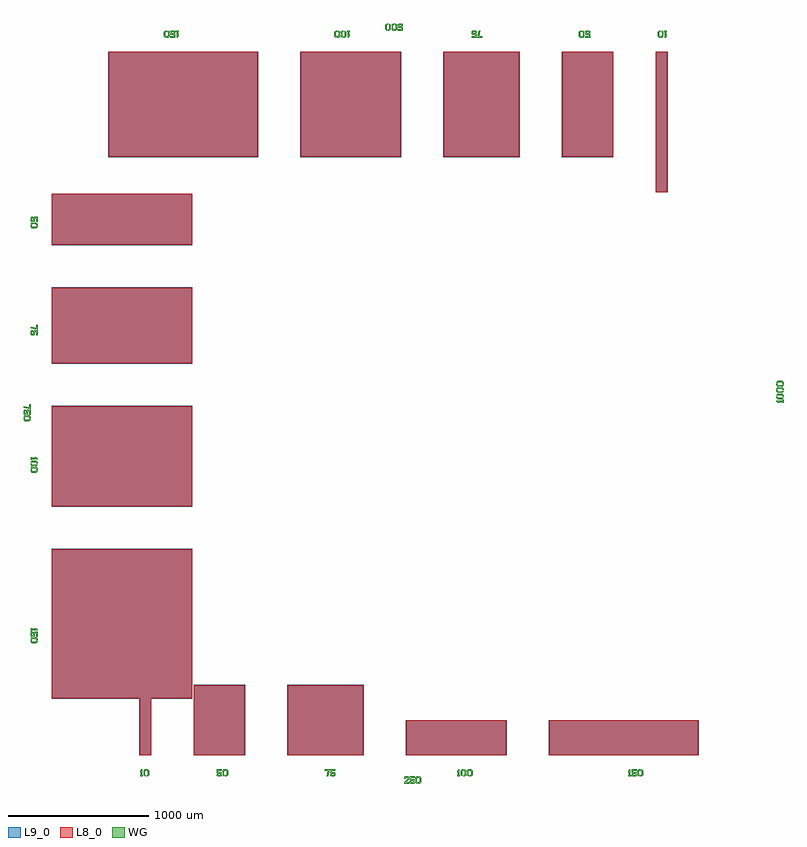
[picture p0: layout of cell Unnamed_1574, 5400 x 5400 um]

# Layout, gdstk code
from math import pi, radians
import gdstk
lib = gdstk.Library(unit=1e-6, precision=1e-09)
def R(c, l, rs):  # rectangles x0, y0, x1, y1
    for r in rs: c.add(gdstk.rectangle(r[:2], r[2:], *l))
def P(c, l, *ps):  # polygons
    for p in ps: c.add(gdstk.Polygon(p, *l))
WG = (1, 0)
L8_0 = (8, 0)
L9_0 = (9, 0)

unnamed_1573 = lib.new_cell('Unnamed_1573')

unnamed_1571 = lib.new_cell('Unnamed_1571')

unnamed_1570 = lib.new_cell('Unnamed_1570')

text_t1000_s50_p0_0_jlef = lib.new_cell('text_T1000_S50_P0_0_Jleft_L1_0')
P(text_t1000_s50_p0_0_jlef, WG, [(48.5,0),(51,10),(55,10),(60,15),(60,35),(55,40),(57.5,50),(60,50),(70,40),(70,10),(60,0)],
  [(93.5,0),(96,10),(100,10),(105,15),(105,35),(100,40),(102.5,50),(105,50),(115,40),(115,10),(105,0)],
  [(138.5,0),(141,10),(145,10),(150,15),(150,35),(145,40),(147.5,50),(150,50),(160,40),(160,10),(150,0)],
  [(40,0),(30,10),(30,40),(40,50),(51.5,50),(49,40),(45,40),(40,35),(40,15),(45,10),(42.5,0)],
  [(85,0),(75,10),(75,40),(85,50),(96.5,50),(94,40),(90,40),(85,35),(85,15),(90,10),(87.5,0)],
  [(130,0),(120,10),(120,40),(130,50),(141.5,50),(139,40),(135,40),(130,35),(130,15),(135,10),(132.5,0)],
  [(5,0),(5,10),(10,10),(10,30),(5,30),(5,40),(15,50),(20,50),(20,10),(25,10),(25,0)])

unnamed_1569 = lib.new_cell('Unnamed_1569')
unnamed_1569.add(gdstk.Reference(text_t1000_s50_p0_0_jlef, (2500,-200)))

rectangle_s1066_1000_l9_ = lib.new_cell('rectangle_S1066_1000_L9_1451213a')
R(rectangle_s1066_1000_l9_, L9_0, [(0,0,1066,1000)])

text_t150_s50_p0_0_jleft = lib.new_cell('text_T150_S50_P0_0_Jleft_L1_0')
P(text_t150_s50_p0_0_jleft, WG, [(88.5,0),(91,10),(95,10),(100,15),(100,35),(95,40),(97.5,50),(100,50),(110,40),(110,10),(100,0)],
  [(80,0),(70,10),(70,40),(80,50),(91.5,50),(89,40),(85,40),(80,35),(80,15),(85,10),(82.5,0)],
  [(35,0),(30,5),(30,15),(40,15),(40,10),(55,10),(55,20),(35,20),(30,25),(30,50),(65,50),(65,40),(40,40),(40,30),(60,30),(65,25),(65,5),(60,0)],
  [(5,0),(5,10),(10,10),(10,30),(5,30),(5,40),(15,50),(20,50),(20,10),(25,10),(25,0)])

rectangle_s150_998_l8_0_ = lib.new_cell('rectangle_S150_998_L8_0_cd40ac17')
R(rectangle_s150_998_l8_0_, L8_0, [(0,0,150,998)])

unnamed_1565 = lib.new_cell('Unnamed_1565')
unnamed_1565.add(gdstk.Reference(rectangle_s1066_1000_l9_, (123,0)))
unnamed_1565.add(gdstk.Reference(text_t150_s50_p0_0_jleft, (683,-150)))
unnamed_1565.add(gdstk.Reference(rectangle_s150_998_l8_0_, (125,0)))
unnamed_1565.add(gdstk.Reference(rectangle_s150_998_l8_0_, (277,0)))
unnamed_1565.add(gdstk.Reference(rectangle_s150_998_l8_0_, (429,0)))
unnamed_1565.add(gdstk.Reference(rectangle_s150_998_l8_0_, (581,0)))
unnamed_1565.add(gdstk.Reference(rectangle_s150_998_l8_0_, (733,0)))
unnamed_1565.add(gdstk.Reference(rectangle_s150_998_l8_0_, (885,0)))
unnamed_1565.add(gdstk.Reference(rectangle_s150_998_l8_0_, (1037,0)))

rectangle_s716_1000_l9__ = lib.new_cell('rectangle_S716_1000_L9__e62f985a')
R(rectangle_s716_1000_l9__, L9_0, [(0,0,716,1000)])

text_t100_s50_p0_0_jleft = lib.new_cell('text_T100_S50_P0_0_Jleft_L1_0')
P(text_t100_s50_p0_0_jleft, WG, [(48.5,0),(51,10),(55,10),(60,15),(60,35),(55,40),(57.5,50),(60,50),(70,40),(70,10),(60,0)],
  [(93.5,0),(96,10),(100,10),(105,15),(105,35),(100,40),(102.5,50),(105,50),(115,40),(115,10),(105,0)],
  [(40,0),(30,10),(30,40),(40,50),(51.5,50),(49,40),(45,40),(40,35),(40,15),(45,10),(42.5,0)],
  [(85,0),(75,10),(75,40),(85,50),(96.5,50),(94,40),(90,40),(85,35),(85,15),(90,10),(87.5,0)],
  [(5,0),(5,10),(10,10),(10,30),(5,30),(5,40),(15,50),(20,50),(20,10),(25,10),(25,0)])

rectangle_s100_998_l8_0_ = lib.new_cell('rectangle_S100_998_L8_0_c306aa22')
R(rectangle_s100_998_l8_0_, L8_0, [(0,0,100,998)])

unnamed_1564 = lib.new_cell('Unnamed_1564')
unnamed_1564.add(gdstk.Reference(rectangle_s716_1000_l9__, (123,0)))
unnamed_1564.add(gdstk.Reference(text_t100_s50_p0_0_jleft, (483,-150)))
unnamed_1564.add(gdstk.Reference(rectangle_s100_998_l8_0_, (125,0)))
unnamed_1564.add(gdstk.Reference(rectangle_s100_998_l8_0_, (227,0)))
unnamed_1564.add(gdstk.Reference(rectangle_s100_998_l8_0_, (329,0)))
unnamed_1564.add(gdstk.Reference(rectangle_s100_998_l8_0_, (431,0)))
unnamed_1564.add(gdstk.Reference(rectangle_s100_998_l8_0_, (533,0)))
unnamed_1564.add(gdstk.Reference(rectangle_s100_998_l8_0_, (635,0)))
unnamed_1564.add(gdstk.Reference(rectangle_s100_998_l8_0_, (737,0)))

rectangle_s541_1000_l9__ = lib.new_cell('rectangle_S541_1000_L9__09d4f548')
R(rectangle_s541_1000_l9__, L9_0, [(0,0,541,1000)])

text_t75_s50_p0_0_jleft_ = lib.new_cell('text_T75_S50_P0_0_Jleft_L1_0')
P(text_t75_s50_p0_0_jleft_, WG, [(50,0),(45,5),(45,15),(55,15),(55,10),(70,10),(70,20),(50,20),(45,25),(45,50),(80,50),(80,40),(55,40),(55,30),(75,30),(80,25),(80,5),(75,0)],
  [(20,0),(28,40),(5,40),(5,50),(40,50),(30,0)])

rectangle_s75_998_l8_0__ = lib.new_cell('rectangle_S75_998_L8_0__cc8ebacf')
R(rectangle_s75_998_l8_0__, L8_0, [(0,0,75,998)])

unnamed_1563 = lib.new_cell('Unnamed_1563')
unnamed_1563.add(gdstk.Reference(rectangle_s541_1000_l9__, (123,0)))
unnamed_1563.add(gdstk.Reference(text_t75_s50_p0_0_jleft_, (383,-150)))
unnamed_1563.add(gdstk.Reference(rectangle_s75_998_l8_0__, (125,0)))
unnamed_1563.add(gdstk.Reference(rectangle_s75_998_l8_0__, (202,0)))
unnamed_1563.add(gdstk.Reference(rectangle_s75_998_l8_0__, (279,0)))
unnamed_1563.add(gdstk.Reference(rectangle_s75_998_l8_0__, (356,0)))
unnamed_1563.add(gdstk.Reference(rectangle_s75_998_l8_0__, (433,0)))
unnamed_1563.add(gdstk.Reference(rectangle_s75_998_l8_0__, (510,0)))
unnamed_1563.add(gdstk.Reference(rectangle_s75_998_l8_0__, (587,0)))

rectangle_s366_1000_l9__ = lib.new_cell('rectangle_S366_1000_L9__a3b0b57e')
R(rectangle_s366_1000_l9__, L9_0, [(0,0,366,1000)])

text_t50_s50_p0_0_jleft_ = lib.new_cell('text_T50_S50_P0_0_Jleft_L1_0')
P(text_t50_s50_p0_0_jleft_, WG, [(63.5,0),(66,10),(70,10),(75,15),(75,35),(70,40),(72.5,50),(75,50),(85,40),(85,10),(75,0)],
  [(55,0),(45,10),(45,40),(55,50),(66.5,50),(64,40),(60,40),(55,35),(55,15),(60,10),(57.5,0)],
  [(10,0),(5,5),(5,15),(15,15),(15,10),(30,10),(30,20),(10,20),(5,25),(5,50),(40,50),(40,40),(15,40),(15,30),(35,30),(40,25),(40,5),(35,0)])

rectangle_s50_998_l8_0__ = lib.new_cell('rectangle_S50_998_L8_0__a3cc393b')
R(rectangle_s50_998_l8_0__, L8_0, [(0,0,50,998)])

unnamed_1562 = lib.new_cell('Unnamed_1562')
unnamed_1562.add(gdstk.Reference(rectangle_s366_1000_l9__, (123,0)))
unnamed_1562.add(gdstk.Reference(text_t50_s50_p0_0_jleft_, (283,-150)))
unnamed_1562.add(gdstk.Reference(rectangle_s50_998_l8_0__, (125,0)))
unnamed_1562.add(gdstk.Reference(rectangle_s50_998_l8_0__, (177,0)))
unnamed_1562.add(gdstk.Reference(rectangle_s50_998_l8_0__, (229,0)))
unnamed_1562.add(gdstk.Reference(rectangle_s50_998_l8_0__, (281,0)))
unnamed_1562.add(gdstk.Reference(rectangle_s50_998_l8_0__, (333,0)))
unnamed_1562.add(gdstk.Reference(rectangle_s50_998_l8_0__, (385,0)))
unnamed_1562.add(gdstk.Reference(rectangle_s50_998_l8_0__, (437,0)))

text_t750_s50_p0_0_jleft = lib.new_cell('text_T750_S50_P0_0_Jleft_L1_0')
P(text_t750_s50_p0_0_jleft, WG, [(95,0),(85,10),(85,40),(95,50),(106.5,50),(104,40),(100,40),(95,35),(95,15),(100,10),(97.5,0)],
  [(50,0),(45,5),(45,15),(55,15),(55,10),(70,10),(70,20),(50,20),(45,25),(45,50),(80,50),(80,40),(55,40),(55,30),(75,30),(80,25),(80,5),(75,0)],
  [(103.5,0),(106,10),(110,10),(115,15),(115,35),(110,40),(112.5,50),(115,50),(125,40),(125,10),(115,0)],
  [(20,0),(28,40),(5,40),(5,50),(40,50),(30,0)])

unnamed_1568 = lib.new_cell('Unnamed_1568')
unnamed_1568.add(gdstk.Reference(unnamed_1565, (3409,0)))
unnamed_1568.add(gdstk.Reference(unnamed_1564, (2393,0)))
unnamed_1568.add(gdstk.Reference(unnamed_1563, (1552,0)))
unnamed_1568.add(gdstk.Reference(unnamed_1562, (886,0)))
unnamed_1568.add(gdstk.Reference(text_t750_s50_p0_0_jleft, (2500,-200)))

rectangle_s716_750_l9_0_ = lib.new_cell('rectangle_S716_750_L9_0_7be79993')
R(rectangle_s716_750_l9_0_, L9_0, [(0,0,716,750)])

rectangle_s100_748_l8_0_ = lib.new_cell('rectangle_S100_748_L8_0_e52924da')
R(rectangle_s100_748_l8_0_, L8_0, [(0,0,100,748)])

unnamed_1559 = lib.new_cell('Unnamed_1559')
unnamed_1559.add(gdstk.Reference(rectangle_s716_750_l9_0_, (123,0)))
unnamed_1559.add(gdstk.Reference(text_t100_s50_p0_0_jleft, (483,-150)))
unnamed_1559.add(gdstk.Reference(rectangle_s100_748_l8_0_, (125,0)))
unnamed_1559.add(gdstk.Reference(rectangle_s100_748_l8_0_, (227,0)))
unnamed_1559.add(gdstk.Reference(rectangle_s100_748_l8_0_, (329,0)))
unnamed_1559.add(gdstk.Reference(rectangle_s100_748_l8_0_, (431,0)))
unnamed_1559.add(gdstk.Reference(rectangle_s100_748_l8_0_, (533,0)))
unnamed_1559.add(gdstk.Reference(rectangle_s100_748_l8_0_, (635,0)))
unnamed_1559.add(gdstk.Reference(rectangle_s100_748_l8_0_, (737,0)))

rectangle_s541_750_l9_0_ = lib.new_cell('rectangle_S541_750_L9_0_cf4eb324')
R(rectangle_s541_750_l9_0_, L9_0, [(0,0,541,750)])

rectangle_s75_748_l8_0__ = lib.new_cell('rectangle_S75_748_L8_0__21cc7b18')
R(rectangle_s75_748_l8_0__, L8_0, [(0,0,75,748)])

unnamed_1558 = lib.new_cell('Unnamed_1558')
unnamed_1558.add(gdstk.Reference(rectangle_s541_750_l9_0_, (123,0)))
unnamed_1558.add(gdstk.Reference(text_t75_s50_p0_0_jleft_, (383,-150)))
unnamed_1558.add(gdstk.Reference(rectangle_s75_748_l8_0__, (125,0)))
unnamed_1558.add(gdstk.Reference(rectangle_s75_748_l8_0__, (202,0)))
unnamed_1558.add(gdstk.Reference(rectangle_s75_748_l8_0__, (279,0)))
unnamed_1558.add(gdstk.Reference(rectangle_s75_748_l8_0__, (356,0)))
unnamed_1558.add(gdstk.Reference(rectangle_s75_748_l8_0__, (433,0)))
unnamed_1558.add(gdstk.Reference(rectangle_s75_748_l8_0__, (510,0)))
unnamed_1558.add(gdstk.Reference(rectangle_s75_748_l8_0__, (587,0)))

rectangle_s1066_750_l9__ = lib.new_cell('rectangle_S1066_750_L9__0ebd3440')
R(rectangle_s1066_750_l9__, L9_0, [(0,0,1066,750)])

rectangle_s150_748_l8_0_ = lib.new_cell('rectangle_S150_748_L8_0_392cc59f')
R(rectangle_s150_748_l8_0_, L8_0, [(0,0,150,748)])

unnamed_1560 = lib.new_cell('Unnamed_1560')
unnamed_1560.add(gdstk.Reference(rectangle_s1066_750_l9__, (123,0)))
unnamed_1560.add(gdstk.Reference(text_t150_s50_p0_0_jleft, (683,-150)))
unnamed_1560.add(gdstk.Reference(rectangle_s150_748_l8_0_, (125,0)))
unnamed_1560.add(gdstk.Reference(rectangle_s150_748_l8_0_, (277,0)))
unnamed_1560.add(gdstk.Reference(rectangle_s150_748_l8_0_, (429,0)))
unnamed_1560.add(gdstk.Reference(rectangle_s150_748_l8_0_, (581,0)))
unnamed_1560.add(gdstk.Reference(rectangle_s150_748_l8_0_, (733,0)))
unnamed_1560.add(gdstk.Reference(rectangle_s150_748_l8_0_, (885,0)))
unnamed_1560.add(gdstk.Reference(rectangle_s150_748_l8_0_, (1037,0)))

rectangle_s366_750_l9_0_ = lib.new_cell('rectangle_S366_750_L9_0_d8e98ecc')
R(rectangle_s366_750_l9_0_, L9_0, [(0,0,366,750)])

rectangle_s50_748_l8_0__ = lib.new_cell('rectangle_S50_748_L8_0__e69bb82a')
R(rectangle_s50_748_l8_0__, L8_0, [(0,0,50,748)])

unnamed_1557 = lib.new_cell('Unnamed_1557')
unnamed_1557.add(gdstk.Reference(rectangle_s366_750_l9_0_, (123,0)))
unnamed_1557.add(gdstk.Reference(text_t50_s50_p0_0_jleft_, (283,-150)))
unnamed_1557.add(gdstk.Reference(rectangle_s50_748_l8_0__, (125,0)))
unnamed_1557.add(gdstk.Reference(rectangle_s50_748_l8_0__, (177,0)))
unnamed_1557.add(gdstk.Reference(rectangle_s50_748_l8_0__, (229,0)))
unnamed_1557.add(gdstk.Reference(rectangle_s50_748_l8_0__, (281,0)))
unnamed_1557.add(gdstk.Reference(rectangle_s50_748_l8_0__, (333,0)))
unnamed_1557.add(gdstk.Reference(rectangle_s50_748_l8_0__, (385,0)))
unnamed_1557.add(gdstk.Reference(rectangle_s50_748_l8_0__, (437,0)))

rectangle_s86_750_l9_0__ = lib.new_cell('rectangle_S86_750_L9_0__a15b9554')
R(rectangle_s86_750_l9_0__, L9_0, [(0,0,86,750)])

text_t10_s50_p0_0_jleft_ = lib.new_cell('text_T10_S50_P0_0_Jleft_L1_0')
P(text_t10_s50_p0_0_jleft_, WG, [(48.5,0),(51,10),(55,10),(60,15),(60,35),(55,40),(57.5,50),(60,50),(70,40),(70,10),(60,0)],
  [(40,0),(30,10),(30,40),(40,50),(51.5,50),(49,40),(45,40),(40,35),(40,15),(45,10),(42.5,0)],
  [(5,0),(5,10),(10,10),(10,30),(5,30),(5,40),(15,50),(20,50),(20,10),(25,10),(25,0)])

rectangle_s10_748_l8_0__ = lib.new_cell('rectangle_S10_748_L8_0__afdd4900')
R(rectangle_s10_748_l8_0__, L8_0, [(0,0,10,748)])

unnamed_1556 = lib.new_cell('Unnamed_1556')
unnamed_1556.add(gdstk.Reference(rectangle_s86_750_l9_0__, (123,0)))
unnamed_1556.add(gdstk.Reference(text_t10_s50_p0_0_jleft_, (123,-150)))
unnamed_1556.add(gdstk.Reference(rectangle_s10_748_l8_0__, (125,0)))
unnamed_1556.add(gdstk.Reference(rectangle_s10_748_l8_0__, (137,0)))
unnamed_1556.add(gdstk.Reference(rectangle_s10_748_l8_0__, (149,0)))
unnamed_1556.add(gdstk.Reference(rectangle_s10_748_l8_0__, (161,0)))
unnamed_1556.add(gdstk.Reference(rectangle_s10_748_l8_0__, (173,0)))
unnamed_1556.add(gdstk.Reference(rectangle_s10_748_l8_0__, (185,0)))
unnamed_1556.add(gdstk.Reference(rectangle_s10_748_l8_0__, (197,0)))

rectangle_s1066_500_l9__ = lib.new_cell('rectangle_S1066_500_L9__64bd6b69')
R(rectangle_s1066_500_l9__, L9_0, [(0,0,1066,500)])

rectangle_s150_498_l8_0_ = lib.new_cell('rectangle_S150_498_L8_0_3344f8a4')
R(rectangle_s150_498_l8_0_, L8_0, [(0,0,150,498)])

unnamed_1555 = lib.new_cell('Unnamed_1555')
unnamed_1555.add(gdstk.Reference(rectangle_s1066_500_l9__, (123,0)))
unnamed_1555.add(gdstk.Reference(text_t150_s50_p0_0_jleft, (683,-150)))
unnamed_1555.add(gdstk.Reference(rectangle_s150_498_l8_0_, (125,0)))
unnamed_1555.add(gdstk.Reference(rectangle_s150_498_l8_0_, (277,0)))
unnamed_1555.add(gdstk.Reference(rectangle_s150_498_l8_0_, (429,0)))
unnamed_1555.add(gdstk.Reference(rectangle_s150_498_l8_0_, (581,0)))
unnamed_1555.add(gdstk.Reference(rectangle_s150_498_l8_0_, (733,0)))
unnamed_1555.add(gdstk.Reference(rectangle_s150_498_l8_0_, (885,0)))
unnamed_1555.add(gdstk.Reference(rectangle_s150_498_l8_0_, (1037,0)))

text_t500_s50_p0_0_jleft = lib.new_cell('text_T500_S50_P0_0_Jleft_L1_0')
P(text_t500_s50_p0_0_jleft, WG, [(63.5,0),(66,10),(70,10),(75,15),(75,35),(70,40),(72.5,50),(75,50),(85,40),(85,10),(75,0)],
  [(108.5,0),(111,10),(115,10),(120,15),(120,35),(115,40),(117.5,50),(120,50),(130,40),(130,10),(120,0)],
  [(55,0),(45,10),(45,40),(55,50),(66.5,50),(64,40),(60,40),(55,35),(55,15),(60,10),(57.5,0)],
  [(100,0),(90,10),(90,40),(100,50),(111.5,50),(109,40),(105,40),(100,35),(100,15),(105,10),(102.5,0)],
  [(10,0),(5,5),(5,15),(15,15),(15,10),(30,10),(30,20),(10,20),(5,25),(5,50),(40,50),(40,40),(15,40),(15,30),(35,30),(40,25),(40,5),(35,0)])

rectangle_s86_1000_l9_0_ = lib.new_cell('rectangle_S86_1000_L9_0_cbcfff94')
R(rectangle_s86_1000_l9_0_, L9_0, [(0,0,86,1000)])

rectangle_s10_998_l8_0__ = lib.new_cell('rectangle_S10_998_L8_0__618c10ad')
R(rectangle_s10_998_l8_0__, L8_0, [(0,0,10,998)])

unnamed_1561 = lib.new_cell('Unnamed_1561')
unnamed_1561.add(gdstk.Reference(rectangle_s86_1000_l9_0_, (123,0)))
unnamed_1561.add(gdstk.Reference(text_t10_s50_p0_0_jleft_, (123,-150)))
unnamed_1561.add(gdstk.Reference(rectangle_s10_998_l8_0__, (125,0)))
unnamed_1561.add(gdstk.Reference(rectangle_s10_998_l8_0__, (137,0)))
unnamed_1561.add(gdstk.Reference(rectangle_s10_998_l8_0__, (149,0)))
unnamed_1561.add(gdstk.Reference(rectangle_s10_998_l8_0__, (161,0)))
unnamed_1561.add(gdstk.Reference(rectangle_s10_998_l8_0__, (173,0)))
unnamed_1561.add(gdstk.Reference(rectangle_s10_998_l8_0__, (185,0)))
unnamed_1561.add(gdstk.Reference(rectangle_s10_998_l8_0__, (197,0)))

rectangle_s716_500_l9_0_ = lib.new_cell('rectangle_S716_500_L9_0_1c4ea042')
R(rectangle_s716_500_l9_0_, L9_0, [(0,0,716,500)])

rectangle_s100_498_l8_0_ = lib.new_cell('rectangle_S100_498_L8_0_8e44272a')
R(rectangle_s100_498_l8_0_, L8_0, [(0,0,100,498)])

unnamed_1554 = lib.new_cell('Unnamed_1554')
unnamed_1554.add(gdstk.Reference(rectangle_s716_500_l9_0_, (123,0)))
unnamed_1554.add(gdstk.Reference(text_t100_s50_p0_0_jleft, (483,-150)))
unnamed_1554.add(gdstk.Reference(rectangle_s100_498_l8_0_, (125,0)))
unnamed_1554.add(gdstk.Reference(rectangle_s100_498_l8_0_, (227,0)))
unnamed_1554.add(gdstk.Reference(rectangle_s100_498_l8_0_, (329,0)))
unnamed_1554.add(gdstk.Reference(rectangle_s100_498_l8_0_, (431,0)))
unnamed_1554.add(gdstk.Reference(rectangle_s100_498_l8_0_, (533,0)))
unnamed_1554.add(gdstk.Reference(rectangle_s100_498_l8_0_, (635,0)))
unnamed_1554.add(gdstk.Reference(rectangle_s100_498_l8_0_, (737,0)))

unnamed_1567 = lib.new_cell('Unnamed_1567')
unnamed_1567.add(gdstk.Reference(unnamed_1559, (2393,0)))
unnamed_1567.add(gdstk.Reference(unnamed_1558, (1552,0)))
unnamed_1567.add(gdstk.Reference(unnamed_1560, (3409,0)))
unnamed_1567.add(gdstk.Reference(unnamed_1557, (886,0)))
unnamed_1567.add(gdstk.Reference(unnamed_1556, (500,0)))
unnamed_1567.add(gdstk.Reference(unnamed_1555, (3409,0)))
unnamed_1567.add(gdstk.Reference(text_t500_s50_p0_0_jleft, (2500,-200)))
unnamed_1567.add(gdstk.Reference(unnamed_1561, (500,0)))
unnamed_1567.add(gdstk.Reference(unnamed_1554, (2393,0)))

unnamed_1572 = lib.new_cell('Unnamed_1572')

rectangle_s366_500_l9_0_ = lib.new_cell('rectangle_S366_500_L9_0_18f01075')
R(rectangle_s366_500_l9_0_, L9_0, [(0,0,366,500)])

rectangle_s50_498_l8_0__ = lib.new_cell('rectangle_S50_498_L8_0__cadecadc')
R(rectangle_s50_498_l8_0__, L8_0, [(0,0,50,498)])

unnamed_1552 = lib.new_cell('Unnamed_1552')
unnamed_1552.add(gdstk.Reference(rectangle_s366_500_l9_0_, (123,0)))
unnamed_1552.add(gdstk.Reference(text_t50_s50_p0_0_jleft_, (283,-150)))
unnamed_1552.add(gdstk.Reference(rectangle_s50_498_l8_0__, (125,0)))
unnamed_1552.add(gdstk.Reference(rectangle_s50_498_l8_0__, (177,0)))
unnamed_1552.add(gdstk.Reference(rectangle_s50_498_l8_0__, (229,0)))
unnamed_1552.add(gdstk.Reference(rectangle_s50_498_l8_0__, (281,0)))
unnamed_1552.add(gdstk.Reference(rectangle_s50_498_l8_0__, (333,0)))
unnamed_1552.add(gdstk.Reference(rectangle_s50_498_l8_0__, (385,0)))
unnamed_1552.add(gdstk.Reference(rectangle_s50_498_l8_0__, (437,0)))

rectangle_s86_500_l9_0__ = lib.new_cell('rectangle_S86_500_L9_0__ba91e76d')
R(rectangle_s86_500_l9_0__, L9_0, [(0,0,86,500)])

rectangle_s10_498_l8_0__ = lib.new_cell('rectangle_S10_498_L8_0__ad3ec932')
R(rectangle_s10_498_l8_0__, L8_0, [(0,0,10,498)])

unnamed_1551 = lib.new_cell('Unnamed_1551')
unnamed_1551.add(gdstk.Reference(text_t10_s50_p0_0_jleft_, (123,-150)))
unnamed_1551.add(gdstk.Reference(rectangle_s86_500_l9_0__, (123,0)))
unnamed_1551.add(gdstk.Reference(rectangle_s10_498_l8_0__, (125,0)))
unnamed_1551.add(gdstk.Reference(rectangle_s10_498_l8_0__, (137,0)))
unnamed_1551.add(gdstk.Reference(rectangle_s10_498_l8_0__, (149,0)))
unnamed_1551.add(gdstk.Reference(rectangle_s10_498_l8_0__, (161,0)))
unnamed_1551.add(gdstk.Reference(rectangle_s10_498_l8_0__, (173,0)))
unnamed_1551.add(gdstk.Reference(rectangle_s10_498_l8_0__, (185,0)))
unnamed_1551.add(gdstk.Reference(rectangle_s10_498_l8_0__, (197,0)))

rectangle_s716_250_l9_0_ = lib.new_cell('rectangle_S716_250_L9_0_72199edc')
R(rectangle_s716_250_l9_0_, L9_0, [(0,0,716,250)])

rectangle_s100_248_l8_0_ = lib.new_cell('rectangle_S100_248_L8_0_ec6efe2a')
R(rectangle_s100_248_l8_0_, L8_0, [(0,0,100,248)])

unnamed_1549 = lib.new_cell('Unnamed_1549')
unnamed_1549.add(gdstk.Reference(text_t100_s50_p0_0_jleft, (483,-150)))
unnamed_1549.add(gdstk.Reference(rectangle_s716_250_l9_0_, (123,0)))
unnamed_1549.add(gdstk.Reference(rectangle_s100_248_l8_0_, (125,0)))
unnamed_1549.add(gdstk.Reference(rectangle_s100_248_l8_0_, (227,0)))
unnamed_1549.add(gdstk.Reference(rectangle_s100_248_l8_0_, (329,0)))
unnamed_1549.add(gdstk.Reference(rectangle_s100_248_l8_0_, (431,0)))
unnamed_1549.add(gdstk.Reference(rectangle_s100_248_l8_0_, (533,0)))
unnamed_1549.add(gdstk.Reference(rectangle_s100_248_l8_0_, (635,0)))
unnamed_1549.add(gdstk.Reference(rectangle_s100_248_l8_0_, (737,0)))

rectangle_s541_500_l9_0_ = lib.new_cell('rectangle_S541_500_L9_0_19871c2f')
R(rectangle_s541_500_l9_0_, L9_0, [(0,0,541,500)])

rectangle_s75_498_l8_0__ = lib.new_cell('rectangle_S75_498_L8_0__5f6cecd9')
R(rectangle_s75_498_l8_0__, L8_0, [(0,0,75,498)])

unnamed_1553 = lib.new_cell('Unnamed_1553')
unnamed_1553.add(gdstk.Reference(text_t75_s50_p0_0_jleft_, (383,-150)))
unnamed_1553.add(gdstk.Reference(rectangle_s541_500_l9_0_, (123,0)))
unnamed_1553.add(gdstk.Reference(rectangle_s75_498_l8_0__, (125,0)))
unnamed_1553.add(gdstk.Reference(rectangle_s75_498_l8_0__, (202,0)))
unnamed_1553.add(gdstk.Reference(rectangle_s75_498_l8_0__, (279,0)))
unnamed_1553.add(gdstk.Reference(rectangle_s75_498_l8_0__, (356,0)))
unnamed_1553.add(gdstk.Reference(rectangle_s75_498_l8_0__, (433,0)))
unnamed_1553.add(gdstk.Reference(rectangle_s75_498_l8_0__, (510,0)))
unnamed_1553.add(gdstk.Reference(rectangle_s75_498_l8_0__, (587,0)))

text_t250_s50_p0_0_jleft = lib.new_cell('text_T250_S50_P0_0_Jleft_L1_0')
P(text_t250_s50_p0_0_jleft, WG, [(95,0),(85,10),(85,40),(95,50),(106.5,50),(104,40),(100,40),(95,35),(95,15),(100,10),(97.5,0)],
  [(50,0),(45,5),(45,15),(55,15),(55,10),(70,10),(70,20),(50,20),(45,25),(45,50),(80,50),(80,40),(55,40),(55,30),(75,30),(80,25),(80,5),(75,0)],
  [(103.5,0),(106,10),(110,10),(115,15),(115,35),(110,40),(112.5,50),(115,50),(125,40),(125,10),(115,0)],
  [(5,0),(5,10),(30,35),(30,40),(15,40),(15,35),(5,35),(5,45),(10,50),(35,50),(40,45),(40,30),(20,10),(40,10),(40,0)])

rectangle_s541_250_l9_0_ = lib.new_cell('rectangle_S541_250_L9_0_4a44eec3')
R(rectangle_s541_250_l9_0_, L9_0, [(0,0,541,250)])

rectangle_s75_248_l8_0__ = lib.new_cell('rectangle_S75_248_L8_0__2b17ab04')
R(rectangle_s75_248_l8_0__, L8_0, [(0,0,75,248)])

unnamed_1548 = lib.new_cell('Unnamed_1548')
unnamed_1548.add(gdstk.Reference(rectangle_s541_250_l9_0_, (123,0)))
unnamed_1548.add(gdstk.Reference(text_t75_s50_p0_0_jleft_, (383,-150)))
unnamed_1548.add(gdstk.Reference(rectangle_s75_248_l8_0__, (125,0)))
unnamed_1548.add(gdstk.Reference(rectangle_s75_248_l8_0__, (202,0)))
unnamed_1548.add(gdstk.Reference(rectangle_s75_248_l8_0__, (279,0)))
unnamed_1548.add(gdstk.Reference(rectangle_s75_248_l8_0__, (356,0)))
unnamed_1548.add(gdstk.Reference(rectangle_s75_248_l8_0__, (433,0)))
unnamed_1548.add(gdstk.Reference(rectangle_s75_248_l8_0__, (510,0)))
unnamed_1548.add(gdstk.Reference(rectangle_s75_248_l8_0__, (587,0)))

rectangle_s1066_250_l9__ = lib.new_cell('rectangle_S1066_250_L9__9e77c063')
R(rectangle_s1066_250_l9__, L9_0, [(0,0,1066,250)])

rectangle_s150_248_l8_0_ = lib.new_cell('rectangle_S150_248_L8_0_45914063')
R(rectangle_s150_248_l8_0_, L8_0, [(0,0,150,248)])

unnamed_1550 = lib.new_cell('Unnamed_1550')
unnamed_1550.add(gdstk.Reference(rectangle_s1066_250_l9__, (123,0)))
unnamed_1550.add(gdstk.Reference(text_t150_s50_p0_0_jleft, (683,-150)))
unnamed_1550.add(gdstk.Reference(rectangle_s150_248_l8_0_, (125,0)))
unnamed_1550.add(gdstk.Reference(rectangle_s150_248_l8_0_, (277,0)))
unnamed_1550.add(gdstk.Reference(rectangle_s150_248_l8_0_, (429,0)))
unnamed_1550.add(gdstk.Reference(rectangle_s150_248_l8_0_, (581,0)))
unnamed_1550.add(gdstk.Reference(rectangle_s150_248_l8_0_, (733,0)))
unnamed_1550.add(gdstk.Reference(rectangle_s150_248_l8_0_, (885,0)))
unnamed_1550.add(gdstk.Reference(rectangle_s150_248_l8_0_, (1037,0)))

rectangle_s366_250_l9_0_ = lib.new_cell('rectangle_S366_250_L9_0_b6a79f79')
R(rectangle_s366_250_l9_0_, L9_0, [(0,0,366,250)])

rectangle_s50_248_l8_0__ = lib.new_cell('rectangle_S50_248_L8_0__6a217ae2')
R(rectangle_s50_248_l8_0__, L8_0, [(0,0,50,248)])

unnamed_1547 = lib.new_cell('Unnamed_1547')
unnamed_1547.add(gdstk.Reference(rectangle_s366_250_l9_0_, (123,0)))
unnamed_1547.add(gdstk.Reference(text_t50_s50_p0_0_jleft_, (283,-150)))
unnamed_1547.add(gdstk.Reference(rectangle_s50_248_l8_0__, (125,0)))
unnamed_1547.add(gdstk.Reference(rectangle_s50_248_l8_0__, (177,0)))
unnamed_1547.add(gdstk.Reference(rectangle_s50_248_l8_0__, (229,0)))
unnamed_1547.add(gdstk.Reference(rectangle_s50_248_l8_0__, (281,0)))
unnamed_1547.add(gdstk.Reference(rectangle_s50_248_l8_0__, (333,0)))
unnamed_1547.add(gdstk.Reference(rectangle_s50_248_l8_0__, (385,0)))
unnamed_1547.add(gdstk.Reference(rectangle_s50_248_l8_0__, (437,0)))

rectangle_s86_250_l9_0__ = lib.new_cell('rectangle_S86_250_L9_0__d37e6a98')
R(rectangle_s86_250_l9_0__, L9_0, [(0,0,86,250)])

rectangle_s10_248_l8_0__ = lib.new_cell('rectangle_S10_248_L8_0__7390707e')
R(rectangle_s10_248_l8_0__, L8_0, [(0,0,10,248)])

unnamed_1546 = lib.new_cell('Unnamed_1546')
unnamed_1546.add(gdstk.Reference(text_t10_s50_p0_0_jleft_, (123,-150)))
unnamed_1546.add(gdstk.Reference(rectangle_s86_250_l9_0__, (123,0)))
unnamed_1546.add(gdstk.Reference(rectangle_s10_248_l8_0__, (125,0)))
unnamed_1546.add(gdstk.Reference(rectangle_s10_248_l8_0__, (137,0)))
unnamed_1546.add(gdstk.Reference(rectangle_s10_248_l8_0__, (149,0)))
unnamed_1546.add(gdstk.Reference(rectangle_s10_248_l8_0__, (161,0)))
unnamed_1546.add(gdstk.Reference(rectangle_s10_248_l8_0__, (173,0)))
unnamed_1546.add(gdstk.Reference(rectangle_s10_248_l8_0__, (185,0)))
unnamed_1546.add(gdstk.Reference(rectangle_s10_248_l8_0__, (197,0)))

unnamed_1566 = lib.new_cell('Unnamed_1566')
unnamed_1566.add(gdstk.Reference(unnamed_1552, (886,0)))
unnamed_1566.add(gdstk.Reference(unnamed_1551, (500,0)))
unnamed_1566.add(gdstk.Reference(unnamed_1549, (2393,0)))
unnamed_1566.add(gdstk.Reference(unnamed_1553, (1552,0)))
unnamed_1566.add(gdstk.Reference(text_t250_s50_p0_0_jleft, (2500,-200)))
unnamed_1566.add(gdstk.Reference(unnamed_1548, (1552,0)))
unnamed_1566.add(gdstk.Reference(unnamed_1550, (3409,0)))
unnamed_1566.add(gdstk.Reference(unnamed_1547, (886,0)))
unnamed_1566.add(gdstk.Reference(unnamed_1546, (500,0)))

unnamed_1574 = lib.new_cell('Unnamed_1574')
unnamed_1574.add(gdstk.Reference(unnamed_1573, (5000,0), rotation=pi/2))
unnamed_1574.add(gdstk.Reference(unnamed_1571, (5000,0), rotation=pi/2))
unnamed_1574.add(gdstk.Reference(unnamed_1570, (5000,0), rotation=pi/2))
unnamed_1574.add(gdstk.Reference(unnamed_1569, (5000,0), rotation=pi/2))
unnamed_1574.add(gdstk.Reference(unnamed_1568, (0,5000), rotation=3*pi/2))
unnamed_1574.add(gdstk.Reference(unnamed_1567, (5000,5000), rotation=pi))
unnamed_1574.add(gdstk.Reference(unnamed_1572, (5000,0), rotation=pi/2))
unnamed_1574.add(gdstk.Reference(unnamed_1566, (0,0)))

lib.write_gds('Unnamed_1574.gds')
